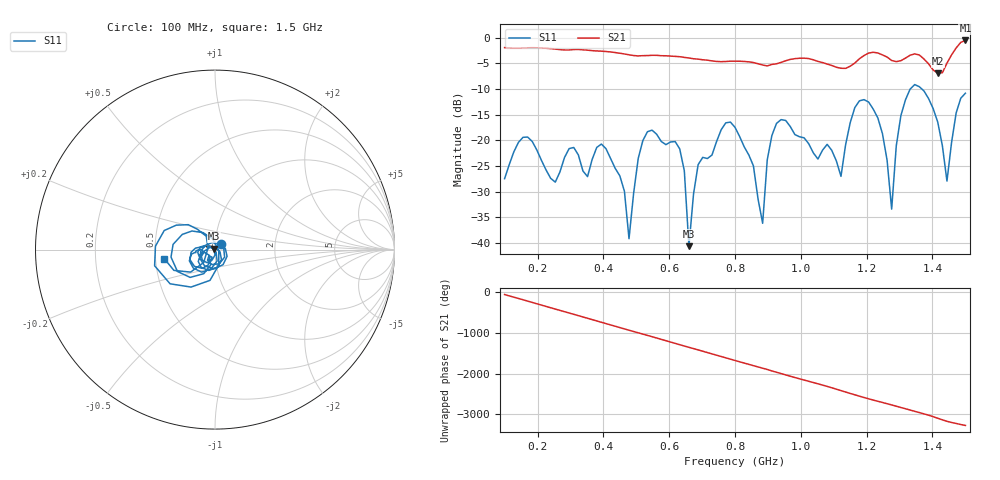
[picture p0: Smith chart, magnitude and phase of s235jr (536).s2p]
! NanoVNA-App
! Date: 2025-09-25 15:08:20
! Start: 100MHz Stop: 1,5GHz Points: 101
! S-Parameter data: F S11 S21 S12 S22
# Hz S RI R 50
!  Frequency  S11_Real  S11_Imag  S21_Real  S21_Imag  S12_Real  S12_Imag  S22_Real  S22_Imag
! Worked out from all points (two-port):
!   101 points, 100 MHz to 1.5 GHz, reference 50 ohm
!   highest |S21| = -0.57 dB at 1.5 GHz (marker M1); lowest = -7.0 dB at 1.416 GHz (marker M2)
!   |S21| within 3 dB of the highest: start of sweep to 503.9 MHz; 508.9 MHz to 593.3 MHz (84.34 MHz wide, 15.3 % of centre) (the widest 2 of 5)
!   lowest |S11| = -40.6 dB at 660 MHz (marker M3), VSWR 1.02, Z = 49.3 + j0.555 ohm
!   |S11| at or under -10 dB: start of sweep to 1.333 GHz; 1.367 GHz to end of sweep
!   S12 and S22 are empty: the file has one direction only
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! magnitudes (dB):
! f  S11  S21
! 100 MHz  -27.5  -2.0
! 156 MHz  -19.4  -2.0
! 338 MHz  -26.0  -2.4
! 408 MHz  -21.6  -2.7
! 478 MHz  -39.2  -3.4
! 520 MHz  -20.1  -3.5
! 576 MHz  -20.2  -3.5
! 632 MHz  -21.7  -3.7
! 660 MHz  -40.6  -4.0
! 688 MHz  -24.7  -4.2
! 800 MHz  -17.5  -4.6
! 884 MHz  -36.2  -5.4
! 926 MHz  -16.7  -5.1
! 1.038 GHz  -22.5  -4.3
! 1.122 GHz  -27.0  -6.0
! 1.206 GHz  -12.6  -3.0
! 1.276 GHz  -33.4  -4.5
! 1.304 GHz  -15.2  -4.5
! 1.332 GHz  -10.0  -3.4
! 1.416 GHz  -16.5  -7.0
! 1.444 GHz  -27.9  -5.0
! 1.5 GHz  -10.8  -0.6
